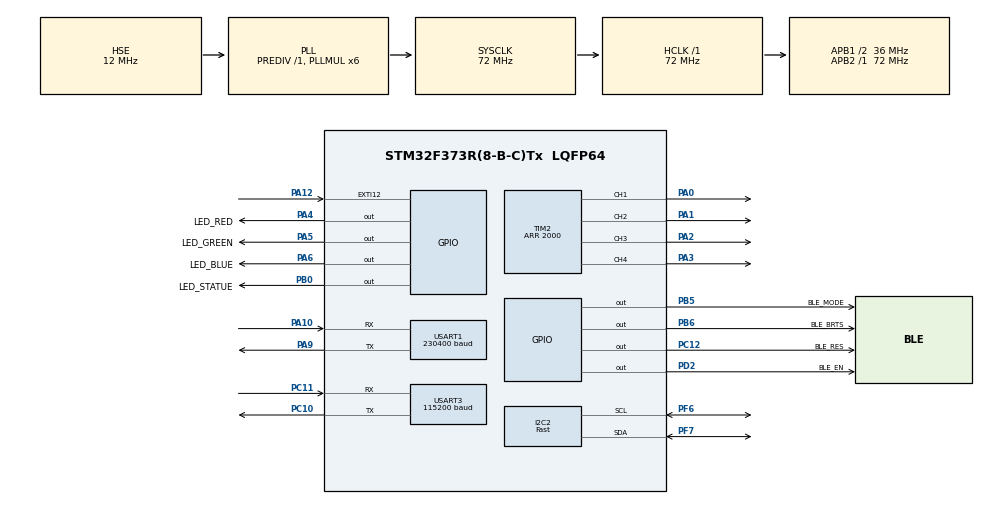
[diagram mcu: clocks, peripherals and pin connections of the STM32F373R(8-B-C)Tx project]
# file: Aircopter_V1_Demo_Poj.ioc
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Dma.I2C2_RX.3.Direction=DMA_PERIPH_TO_MEMORY
Dma.I2C2_RX.3.Instance=DMA1_Channel5
Dma.I2C2_RX.3.MemDataAlignment=DMA_MDATAALIGN_BYTE
Dma.I2C2_RX.3.MemInc=DMA_MINC_DISABLE
Dma.I2C2_RX.3.Mode=DMA_NORMAL
Dma.I2C2_RX.3.PeriphDataAlignment=DMA_PDATAALIGN_BYTE
Dma.I2C2_RX.3.PeriphInc=DMA_PINC_DISABLE
Dma.I2C2_RX.3.Priority=DMA_PRIORITY_MEDIUM
Dma.Request0=USART3_RX
Dma.Request1=USART3_TX
Dma.Request2=USART1_TX
Dma.Request3=I2C2_RX
Dma.USART1_TX.2.Direction=DMA_MEMORY_TO_PERIPH
Dma.USART1_TX.2.Instance=DMA1_Channel4
Dma.USART1_TX.2.MemDataAlignment=DMA_MDATAALIGN_BYTE
Dma.USART1_TX.2.MemInc=DMA_MINC_DISABLE
Dma.USART1_TX.2.Mode=DMA_NORMAL
Dma.USART1_TX.2.PeriphDataAlignment=DMA_PDATAALIGN_BYTE
Dma.USART1_TX.2.PeriphInc=DMA_PINC_DISABLE
Dma.USART1_TX.2.Priority=DMA_PRIORITY_LOW
Dma.USART3_RX.0.Direction=DMA_PERIPH_TO_MEMORY
Dma.USART3_RX.0.Instance=DMA1_Channel3
Dma.USART3_RX.0.MemDataAlignment=DMA_MDATAALIGN_BYTE
Dma.USART3_RX.0.MemInc=DMA_MINC_DISABLE
Dma.USART3_RX.0.Mode=DMA_NORMAL
Dma.USART3_RX.0.PeriphDataAlignment=DMA_PDATAALIGN_BYTE
Dma.USART3_RX.0.PeriphInc=DMA_PINC_DISABLE
Dma.USART3_RX.0.Priority=DMA_PRIORITY_HIGH
Dma.USART3_TX.1.Direction=DMA_MEMORY_TO_PERIPH
Dma.USART3_TX.1.Instance=DMA1_Channel2
Dma.USART3_TX.1.MemDataAlignment=DMA_MDATAALIGN_BYTE
Dma.USART3_TX.1.MemInc=DMA_MINC_DISABLE
Dma.USART3_TX.1.Mode=DMA_NORMAL
Dma.USART3_TX.1.PeriphDataAlignment=DMA_PDATAALIGN_BYTE
Dma.USART3_TX.1.PeriphInc=DMA_PINC_DISABLE
Dma.USART3_TX.1.Priority=DMA_PRIORITY_MEDIUM
FREERTOS.HEAP_NUMBER=4
FREERTOS.Tasks01=defaultTask,0,128,StartDefaultTask
FREERTOS.Timers01=getSensorDataTimer,getSensorDataTimerCallback,osTimerPeriodic
FREERTOS.configCHECK_FOR_STACK_OVERFLOW=1
FREERTOS.configGENERATE_RUN_TIME_STATS=0
FREERTOS.configUSE_IDLE_HOOK=1
FREERTOS.configUSE_MALLOC_FAILED_HOOK=1
FREERTOS.configUSE_TICK_HOOK=1
FREERTOS.configUSE_TIMERS=1
I2C2.I2C_Fall_Time=80
I2C2.I2C_Rise_Time=100
I2C2.I2C_Speed_Mode=I2C_Fast
Mcu.Family=STM32F3
Mcu.Name=STM32F373R(8-B-C)Tx
Mcu.Package=LQFP64
NVIC.DMA1_Channel2_IRQn=true\:5\:0\:false
NVIC.DMA1_Channel3_IRQn=true\:5\:0\:false
NVIC.DMA1_Channel4_IRQn=true\:5\:0\:false
NVIC.DMA1_Channel5_IRQn=true\:5\:0\:false
NVIC.PriorityGroup=NVIC_PRIORITYGROUP_4
NVIC.USART1_IRQn=true\:5\:0\:false
NVIC.USART3_IRQn=true\:5\:0\:false
PA0.GPIO_ModeDefaultPP=GPIO_MODE_AF_PP
PA0.GPIO_PuPd=GPIO_NOPULL
PA0.GPIO_Speed=GPIO_SPEED_HIGH
PA0.Signal=S_TIM2_CH1_ETR
PA1.GPIO_ModeDefaultPP=GPIO_MODE_AF_PP
PA1.GPIO_PuPd=GPIO_NOPULL
PA1.GPIO_Speed=GPIO_SPEED_HIGH
PA1.Signal=S_TIM2_CH2
PA10.GPIO_Mode=GPIO_MODE_AF_PP
PA10.GPIO_PuPd=GPIO_PULLUP
PA10.GPIO_Speed=GPIO_SPEED_HIGH
PA10.Mode=Asynchronous
PA10.Signal=USART1_RX
PA12.Signal=GPXTI12
PA13.Mode=Serial-Wire
PA13.Signal=SYS_JTMS-SWDIO
PA14.Mode=Serial-Wire
PA14.Signal=SYS_JTCK-SWCLK
PA2.GPIO_ModeDefaultPP=GPIO_MODE_AF_PP
PA2.GPIO_PuPd=GPIO_NOPULL
PA2.GPIO_Speed=GPIO_SPEED_HIGH
PA2.Signal=S_TIM2_CH3
PA3.GPIO_ModeDefaultPP=GPIO_MODE_AF_PP
PA3.GPIO_PuPd=GPIO_NOPULL
PA3.GPIO_Speed=GPIO_SPEED_HIGH
PA3.Signal=S_TIM2_CH4
PA4.GPIO_Label=LED_RED
PA4.GPIO_ModeDefaultOutputPP=GPIO_MODE_OUTPUT_PP
PA4.GPIO_PuPd=GPIO_NOPULL
PA4.GPIO_Speed=GPIO_SPEED_HIGH
PA4.Signal=GPIO_Output
PA5.GPIO_Label=LED_GREEN
PA5.GPIO_ModeDefaultOutputPP=GPIO_MODE_OUTPUT_PP
PA5.GPIO_PuPd=GPIO_NOPULL
PA5.GPIO_Speed=GPIO_SPEED_HIGH
PA5.Signal=GPIO_Output
PA6.GPIO_Label=LED_BLUE
PA6.GPIO_ModeDefaultOutputPP=GPIO_MODE_OUTPUT_PP
PA6.GPIO_PuPd=GPIO_NOPULL
PA6.GPIO_Speed=GPIO_SPEED_HIGH
PA6.Signal=GPIO_Output
PA9.GPIO_Mode=GPIO_MODE_AF_PP
PA9.GPIO_PuPd=GPIO_PULLUP
PA9.GPIO_Speed=GPIO_SPEED_HIGH
PA9.Mode=Asynchronous
PA9.Signal=USART1_TX
PB0.GPIO_Label=LED_STATUE
PB0.GPIO_ModeDefaultOutputPP=GPIO_MODE_OUTPUT_PP
PB0.GPIO_PuPd=GPIO_NOPULL
PB0.GPIO_Speed=GPIO_SPEED_HIGH
PB0.Signal=GPIO_Output
PB5.GPIO_Label=BLE_MODE
PB5.GPIO_ModeDefaultOutputPP=GPIO_MODE_OUTPUT_PP
PB5.GPIO_PuPd=GPIO_NOPULL
PB5.GPIO_Speed=GPIO_SPEED_LOW
PB5.Signal=GPIO_Output
PB6.GPIO_FM6=__NULL
PB6.GPIO_Label=BLE_BRTS
PB6.GPIO_ModeDefaultOutputPP=GPIO_MODE_OUTPUT_PP
PB6.GPIO_PuPd=GPIO_NOPULL
PB6.GPIO_Speed=GPIO_SPEED_HIGH
PB6.Signal=GPIO_Output
PC10.GPIO_Mode=GPIO_MODE_AF_PP
PC10.GPIO_PuPd=GPIO_PULLUP
PC10.GPIO_Speed=GPIO_SPEED_HIGH
PC10.Mode=Asynchronous
PC10.Signal=USART3_TX
PC11.GPIO_Mode=GPIO_MODE_AF_PP
PC11.GPIO_PuPd=GPIO_PULLUP
PC11.GPIO_Speed=GPIO_SPEED_HIGH
PC11.Mode=Asynchronous
PC11.Signal=USART3_RX
PC12.GPIO_Label=BLE_RES
PC12.GPIO_ModeDefaultOutputPP=GPIO_MODE_OUTPUT_PP
PC12.GPIO_PuPd=GPIO_NOPULL
PC12.GPIO_Speed=GPIO_SPEED_HIGH
PC12.Signal=GPIO_Output
PD2.GPIO_Label=BLE_EN
PD2.GPIO_ModeDefaultOutputPP=GPIO_MODE_OUTPUT_PP
PD2.GPIO_PuPd=GPIO_NOPULL
PD2.GPIO_Speed=GPIO_SPEED_HIGH
PD2.Signal=GPIO_Output
PF0-OSC_IN.Mode=HSE-External-Oscillator
PF0-OSC_IN.Signal=RCC_OSC_IN
PF1-OSC_OUT.Mode=HSE-External-Oscillator
PF1-OSC_OUT.Signal=RCC_OSC_OUT
PF6.GPIO_Mode=GPIO_MODE_AF_OD
PF6.GPIO_PuPdOD=GPIO_PULLUP
PF6.GPIO_Speed=GPIO_SPEED_HIGH
PF6.Mode=I2C
PF6.Signal=I2C2_SCL
PF7.GPIO_Mode=GPIO_MODE_AF_OD
PF7.GPIO_PuPdOD=GPIO_PULLUP
PF7.GPIO_Speed=GPIO_SPEED_HIGH
PF7.Mode=I2C
PF7.Signal=I2C2_SDA
ProjectManager.TargetToolchain=EWARM
RCC.AHBFreq_Value=72000000
RCC.APB1CLKDivider=RCC_HCLK_DIV2
RCC.APB1Freq_Value=36000000
RCC.APB1TimFreq_Value=72000000
RCC.APB2Freq_Value=72000000
RCC.APB2TimFreq_Value=72000000
RCC.HCLKFreq_Value=72000000
RCC.HSE_VALUE=12000000
RCC.HSI_VALUE=8000000
RCC.LSE_VALUE=32768
RCC.PLLMUL=RCC_PLL_MUL6
RCC.PLLSource=RCC_PLLSOURCE_HSE
RCC.PLLSourceVirtual=RCC_PLLSOURCE_HSE
RCC.PLLSourceVirtualString=RCC_PLLSOURCE_HSE
RCC.SYSCLKFreq_VALUE=72000000
RCC.SYSCLKSource=RCC_SYSCLKSOURCE_PLLCLK
RCC.USBFreq_Value=72000000
SH.S_TIM2_CH1_ETR.0=TIM2_CH1,PWM Generation1 CH1
SH.S_TIM2_CH2.0=TIM2_CH2,PWM Generation2 CH2
SH.S_TIM2_CH3.0=TIM2_CH3,PWM Generation3 CH3
SH.S_TIM2_CH4.0=TIM2_CH4,PWM Generation4 CH4
TIM2.Channel-PWM\ Generation2\ CH2=TIM_CHANNEL_2
TIM2.Channel-PWM\ Generation3\ CH3=TIM_CHANNEL_3
TIM2.Channel-PWM\ Generation4\ CH4=TIM_CHANNEL_4
TIM2.Period=2000
USART1.BaudRate=230400
USART3.BaudRate=115200
VP_FREERTOS_VS_ENABLE.Mode=Enabled
VP_TIM2_VS_ClockSourceINT.Mode=Internal

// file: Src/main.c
/**
  ******************************************************************************
  * File Name          : main.c
  * Date               : 27/04/2015 11:23:53
  * Description        : Main program body
  ******************************************************************************
  *
  * COPYRIGHT(c) 2015 STMicroelectronics
  *
  * Redistribution and use in source and binary forms, with or without modification,
  * are permitted provided that the following conditions are met:
  *   1. Redistributions of source code must retain the above copyright notice,
  *      this list of conditions and the following disclaimer.
  *   2. Redistributions in binary form must reproduce the above copyright notice,
  *      this list of conditions and the following disclaimer in the documentation
  *      and/or other materials provided with the distribution.
  *   3. Neither the name of STMicroelectronics nor the names of its contributors
  *      may be used to endorse or promote products derived from this software
  *      without specific prior written permission.
  *
  * THIS SOFTWARE IS PROVIDED BY THE COPYRIGHT HOLDERS AND CONTRIBUTORS "AS IS"
  * AND ANY EXPRESS OR IMPLIED WARRANTIES, INCLUDING, BUT NOT LIMITED TO, THE
  * IMPLIED WARRANTIES OF MERCHANTABILITY AND FITNESS FOR A PARTICULAR PURPOSE ARE
  * DISCLAIMED. IN NO EVENT SHALL THE COPYRIGHT HOLDER OR CONTRIBUTORS BE LIABLE
  * FOR ANY DIRECT, INDIRECT, INCIDENTAL, SPECIAL, EXEMPLARY, OR CONSEQUENTIAL
  * DAMAGES (INCLUDING, BUT NOT LIMITED TO, PROCUREMENT OF SUBSTITUTE GOODS OR
  * SERVICES; LOSS OF USE, DATA, OR PROFITS; OR BUSINESS INTERRUPTION) HOWEVER
  * CAUSED AND ON ANY THEORY OF LIABILITY, WHETHER IN CONTRACT, STRICT LIABILITY,
  * OR TORT (INCLUDING NEGLIGENCE OR OTHERWISE) ARISING IN ANY WAY OUT OF THE USE
  * OF THIS SOFTWARE, EVEN IF ADVISED OF THE POSSIBILITY OF SUCH DAMAGE.
  *
  ******************************************************************************
  */

#include "stm32f3xx_hal.h"
#include "cmsis_os.h"
#include "dma.h"
#include "i2c.h"
#include "tim.h"
#include "usart.h"
#include "gpio.h"

/* USER CODE BEGIN Includes */
#include "i2c2_sensors.h"
#include "usart3_ble.h"
#include "usart1_dbg.h"
#include <stdio.h>

#include "math.h"
#include "DataScope_DP.h"
#include "algorithm_ahrs.h"
#include "extern_variable.h"
/* USER CODE END Includes */

void SystemClock_Config(void);
void MX_FREERTOS_Init(void);

/* USER CODE BEGIN 0 */
#define PUTCHAR_PROTOTYPE int fputc(int ch, FILE *f)
/**
* @brief
* @note
* @param
* @retval
*/
PUTCHAR_PROTOTYPE
{
  /* Place your implementation of fputc here */
  /* e.g. write a character to the USART */
  USART_DBG_Send(ch);
  return ch;
}
extern PUTCHAR_PROTOTYPE;

unsigned long sensor_timestamp;
short gyro[3], accel[3], sensors;
unsigned char more;
long quat[4];

#define q30  1073741824.0f
float q0=1.0f,q1=0.0f,q2=0.0f,q3=0.0f;
float Yaw,Roll,Pitch;
/* USER CODE END 0 */

int main(void)
{

  /* MCU Configuration----------------------------------------------------------*/

  /* Reset of all peripherals, Initializes the Flash interface and the Systick. */
  HAL_Init();

  /* Configure the system clock */
  SystemClock_Config();

  /* Initialize all configured peripherals */
  MX_GPIO_Init();
  MX_DMA_Init();
  MX_I2C2_Init();
  MX_TIM2_Init();
  MX_USART1_UART_Init();
  MX_USART3_UART_Init();

  /* USER CODE BEGIN 2 */
  USART_DBG_Init();

  BLE_Init();
  printf("Peripherals init OK!\r\n");

  MPU6050_DMP_Initialize();     //初始化DMP引擎
  while(1)
  {
	DMP_Routing();	        //DMP 线程  所有的数据都在这里更新
	DMP_getYawPitchRoll();  //读取 姿态角
	{
	  uint8_t Send_Count = 0, i =0;
	  DataScope_Get_Channel_Data( Q_ANGLE.Pitch , 1 );
	  DataScope_Get_Channel_Data( Q_ANGLE.Roll , 2 );
	  DataScope_Get_Channel_Data( Q_ANGLE.Yaw , 3 );

	  Send_Count = DataScope_Data_Generate(3);
	  for(i = 0;i < Send_Count;i++)
	  {
		USART_DBG_Send(DataScope_OutPut_Buffer[i]);
	  }
	}
	HAL_Delay(20);

  }
  /* USER CODE END 2 */

  /* Call init function for freertos objects (in freertos.c) */
  MX_FREERTOS_Init();

  /* Start scheduler */
  osKernelStart(NULL, NULL);

  /* We should never get here as control is now taken by the scheduler */

  /* Infinite loop */
  while (1)
  {

  }

}

/** System Clock Configuration
*/
void SystemClock_Config(void)
{

  RCC_OscInitTypeDef RCC_OscInitStruct;
  RCC_ClkInitTypeDef RCC_ClkInitStruct;
  RCC_PeriphCLKInitTypeDef PeriphClkInit;

  RCC_OscInitStruct.OscillatorType = RCC_OSCILLATORTYPE_HSI|RCC_OSCILLATORTYPE_HSE;
  RCC_OscInitStruct.HSEState = RCC_HSE_ON;
  RCC_OscInitStruct.HSEPredivValue = RCC_HSE_PREDIV_DIV1;
  RCC_OscInitStruct.HSIState = RCC_HSI_ON;
  RCC_OscInitStruct.HSICalibrationValue = 16;
  RCC_OscInitStruct.PLL.PLLState = RCC_PLL_ON;
  RCC_OscInitStruct.PLL.PLLSource = RCC_PLLSOURCE_HSE;
  RCC_OscInitStruct.PLL.PLLMUL = RCC_PLL_MUL6;
  HAL_RCC_OscConfig(&RCC_OscInitStruct);

  RCC_ClkInitStruct.ClockType = RCC_CLOCKTYPE_SYSCLK|RCC_CLOCKTYPE_PCLK1;
  RCC_ClkInitStruct.SYSCLKSource = RCC_SYSCLKSOURCE_PLLCLK;
  RCC_ClkInitStruct.AHBCLKDivider = RCC_SYSCLK_DIV1;
  RCC_ClkInitStruct.APB1CLKDivider = RCC_HCLK_DIV2;
  RCC_ClkInitStruct.APB2CLKDivider = RCC_HCLK_DIV1;
  HAL_RCC_ClockConfig(&RCC_ClkInitStruct, FLASH_LATENCY_2);

  PeriphClkInit.PeriphClockSelection = RCC_PERIPHCLK_USART1|RCC_PERIPHCLK_USART3
                              |RCC_PERIPHCLK_I2C2;
  PeriphClkInit.Usart1ClockSelection = RCC_USART1CLKSOURCE_PCLK2;
  PeriphClkInit.Usart3ClockSelection = RCC_USART3CLKSOURCE_PCLK1;
  PeriphClkInit.I2c2ClockSelection = RCC_I2C2CLKSOURCE_HSI;
  HAL_RCCEx_PeriphCLKConfig(&PeriphClkInit);

  __SYSCFG_CLK_ENABLE();

}

#ifdef USE_FULL_ASSERT

/**
   * @brief Reports the name of the source file and the source line number
   * where the assert_param error has occurred.
   * @param file: pointer to the source file name
   * @param line: assert_param error line source number
   * @retval None
   */
void assert_failed(uint8_t* file, uint32_t line)
{
  /* USER CODE BEGIN 6 */
  /* User can add his own implementation to report the file name and line number,
    ex: printf("Wrong parameters value: file %s on line %d\r\n", file, line) */
  printf("Wrong parameters value: file %s on line %d\r\n", file, line);
  /* USER CODE END 6 */

}

#endif

/************************ (C) COPYRIGHT STMicroelectronics *****END OF FILE****/

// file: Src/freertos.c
/**
  ******************************************************************************
  * File Name          : freertos.c
  * Date               : 10/04/2015 16:29:22
  * Description        : Code for freertos applications
  ******************************************************************************
  *
  * COPYRIGHT(c) 2015 STMicroelectronics
  *
  * Redistribution and use in source and binary forms, with or without modification,
  * are permitted provided that the following conditions are met:
  *   1. Redistributions of source code must retain the above copyright notice,
  *      this list of conditions and the following disclaimer.
  *   2. Redistributions in binary form must reproduce the above copyright notice,
  *      this list of conditions and the following disclaimer in the documentation
  *      and/or other materials provided with the distribution.
  *   3. Neither the name of STMicroelectronics nor the names of its contributors
  *      may be used to endorse or promote products derived from this software
  *      without specific prior written permission.
  *
  * THIS SOFTWARE IS PROVIDED BY THE COPYRIGHT HOLDERS AND CONTRIBUTORS "AS IS"
  * AND ANY EXPRESS OR IMPLIED WARRANTIES, INCLUDING, BUT NOT LIMITED TO, THE
  * IMPLIED WARRANTIES OF MERCHANTABILITY AND FITNESS FOR A PARTICULAR PURPOSE ARE
  * DISCLAIMED. IN NO EVENT SHALL THE COPYRIGHT HOLDER OR CONTRIBUTORS BE LIABLE
  * FOR ANY DIRECT, INDIRECT, INCIDENTAL, SPECIAL, EXEMPLARY, OR CONSEQUENTIAL
  * DAMAGES (INCLUDING, BUT NOT LIMITED TO, PROCUREMENT OF SUBSTITUTE GOODS OR
  * SERVICES; LOSS OF USE, DATA, OR PROFITS; OR BUSINESS INTERRUPTION) HOWEVER
  * CAUSED AND ON ANY THEORY OF LIABILITY, WHETHER IN CONTRACT, STRICT LIABILITY,
  * OR TORT (INCLUDING NEGLIGENCE OR OTHERWISE) ARISING IN ANY WAY OUT OF THE USE
  * OF THIS SOFTWARE, EVEN IF ADVISED OF THE POSSIBILITY OF SUCH DAMAGE.
  *
  ******************************************************************************
  */

#include "FreeRTOS.h"
#include "task.h"
#include "cmsis_os.h"

/* USER CODE BEGIN Includes */
#include "my_free_rtos.h"
#include <stdio.h>
#include "i2c2_sensors.h"
#include "algorithm_ahrs.h"
#include "algorithm_moveAve.h"
#include "tim2_motor.h"
#include "usart3_ble.h"
#include "leds.h"
#include "algorithm_pid2.h"
#include "pid.h"
#include "usart1_dbg.h"
#include "DataScope_DP.h"
#include "extern_variable.h"
#include "MPU6050.h"
#include "DMP.h"
/* USER CODE END Includes */

osThreadId defaultTaskHandle;
osTimerId getSensorDataTimerHandle;

/* USER CODE BEGIN Variables */
osThreadId sensorTaskHandle;
osSemaphoreId sensorSemaphore;
osSemaphoreId sensorOKSemaphore;
osSemaphoreId sensorWorkSemaphore;
osThreadId bleRecvTaskHandle;
osSemaphoreId bleRecvOKSemaphore;
osThreadId uartTaskHandle;
/* USER CODE END Variables */

void StartDefaultTask(void const * argument);
void getSensorDataTimerCallback(void const * argument);

void MX_FREERTOS_Init(void); /* (MISRA C 2004 rule 8.1) */

/* USER CODE BEGIN FunctionPrototypes */
#define USART_Send(x) USART_DBG_Send(x)

void StartSensorTask(void const * argument);
void StartBleRecvTask(void const * argument);
void StartUartTask(void const * argument);
void EullerReport(EulerAngle* pAngE);
/* USER CODE END FunctionPrototypes */
/* Hook prototypes */
void vApplicationIdleHook(void);
void vApplicationTickHook(void);
void vApplicationStackOverflowHook(xTaskHandle xTask, signed char *pcTaskName);
void vApplicationMallocFailedHook(void);

/* USER CODE BEGIN 2 */
void vApplicationIdleHook( void )
{
   /* vApplicationIdleHook() will only be called if configUSE_IDLE_HOOK is set
   to 1 in FreeRTOSConfig.h. It will be called on each iteration of the idle
   task. It is essential that code added to this hook function never attempts
   to block in any way (for example, call xQueueReceive() with a block time
   specified, or call vTaskDelay()). If the application makes use of the
   vTaskDelete() API function (as this demo application does) then it is also
   important that vApplicationIdleHook() is permitted to return to its calling
   function, because it is the responsibility of the idle task to clean up
   memory allocated by the kernel to any task that has since been deleted. */
}
/* USER CODE END 2 */

/* USER CODE BEGIN 3 */
void vApplicationTickHook( void )
{
   /* This function will be called by each tick interrupt if
   configUSE_TICK_HOOK is set to 1 in FreeRTOSConfig.h. User code can be
   added here, but the tick hook is called from an interrupt context, so
   code must not attempt to block, and only the interrupt safe FreeRTOS API
   functions can be used (those that end in FromISR()). */
}
/* USER CODE END 3 */

/* USER CODE BEGIN 4 */
void vApplicationStackOverflowHook(xTaskHandle xTask, signed char *pcTaskName)
{
   /* Run time stack overflow checking is performed if
   configCHECK_FOR_STACK_OVERFLOW is defined to 1 or 2. This hook function is
   called if a stack overflow is detected. */
}
/* USER CODE END 4 */

/* USER CODE BEGIN 5 */
void vApplicationMallocFailedHook(void)
{
   /* vApplicationMallocFailedHook() will only be called if
   configUSE_MALLOC_FAILED_HOOK is set to 1 in FreeRTOSConfig.h. It is a hook
   function that will get called if a call to pvPortMalloc() fails.
   pvPortMalloc() is called internally by the kernel whenever a task, queue,
   timer or semaphore is created. It is also called by various parts of the
   demo application. If heap_1.c or heap_2.c are used, then the size of the
   heap available to pvPortMalloc() is defined by configTOTAL_HEAP_SIZE in
   FreeRTOSConfig.h, and the xPortGetFreeHeapSize() API function can be used
   to query the size of free heap space that remains (although it does not
   provide information on how the remaining heap might be fragmented). */
}
/* USER CODE END 5 */

/* Init FreeRTOS */

void MX_FREERTOS_Init(void) {
  /* USER CODE BEGIN Init */
  printf("%s\r\n", __func__);
  Sensor_Init();
  /* USER CODE END Init */

  /* USER CODE BEGIN RTOS_SEMAPHORES */
  /* add semaphores, ... */
  osSemaphoreDef(sensorSemaphore);
  sensorSemaphore = osSemaphoreCreate(osSemaphore(sensorSemaphore), 1);
  if(sensorSemaphore == NULL){
	printf("osSemaphoreCreate sensorSemaphore Error\r\n");
	return;
  }
  osSemaphoreWait(sensorSemaphore, 0);

  osSemaphoreDef(sensorWorkSemaphore);
  sensorWorkSemaphore = osSemaphoreCreate(osSemaphore(sensorWorkSemaphore), 1);
  if(sensorWorkSemaphore == NULL){
	printf("osSemaphoreCreate sensorWorkSemaphore Error\r\n");
	return;
  }
  osSemaphoreWait(sensorWorkSemaphore, 0);

  osSemaphoreDef(sensorOKSemaphore);
  sensorOKSemaphore = osSemaphoreCreate(osSemaphore(sensorOKSemaphore), 1);
  if(sensorOKSemaphore == NULL){
	printf("osSemaphoreCreate sensorOKSemaphore Error\r\n");
	return;
  }
  osSemaphoreWait(sensorOKSemaphore, 0);

  osSemaphoreDef(bleRecvOKSemaphore);
  bleRecvOKSemaphore = osSemaphoreCreate(osSemaphore(bleRecvOKSemaphore), 1);
  if(bleRecvOKSemaphore == NULL){
	printf("osSemaphoreCreate bleRecvOKSemaphore Error\r\n");
	return;
  }
  osSemaphoreWait(bleRecvOKSemaphore, 0);

  /* USER CODE END RTOS_SEMAPHORES */

  /* Create the timer(s) */
  /* definition and creation of getSensorDataTimer */
  osTimerDef(getSensorDataTimer, getSensorDataTimerCallback);
  getSensorDataTimerHandle = osTimerCreate(osTimer(getSensorDataTimer), osTimerPeriodic, NULL);

  /* Create the thread(s) */
  /* definition and creation of defaultTask */
//  osThreadDef(defaultTask, StartDefaultTask, osPriorityNormal, 0, 128);
//  defaultTaskHandle = osThreadCreate(osThread(defaultTask), NULL);

  /* USER CODE BEGIN RTOS_THREADS */
  /* add threads, ... */

  osThreadDef(sensorTask, StartSensorTask, osPriorityNormal, 0, 512);
  sensorTaskHandle = osThreadCreate(osThread(sensorTask), NULL);

  osThreadDef(bleRecvTask, StartBleRecvTask, osPriorityNormal, 0, 256);
  bleRecvTaskHandle = osThreadCreate(osThread(bleRecvTask), NULL);

//  osThreadDef(uartTask, StartUartTask, osPriorityNormal, 0, 128);
//  uartTaskHandle = osThreadCreate(osThread(uartTask), NULL);

  /* USER CODE END RTOS_THREADS */

}

/* StartDefaultTask function */
void StartDefaultTask(void const * argument)
{

  /* USER CODE BEGIN StartDefaultTask */
  printf("%s\r\n", __func__);

//  osDelay(1000);
  /* USER CODE END StartDefaultTask */
}

/* getSensorDataTimerCallback function */
void getSensorDataTimerCallback(void const * argument)
{
  /* USER CODE BEGIN getSensorDataTimerCallback */
#if 0
#define MoveAveSize 8
  static float Acc_FIFO[3][MoveAveSize] = {0};
  static float Gyr_FIFO[3][MoveAveSize] = {0};
  static float Mag_FIFO[3][MoveAveSize] = {0};

  static float OffsetSum[3] = {0};
  static uint16_t Correction_Time = 0;
  static uint8_t cycle = 0;
//  printf("%s\r\n", __func__);
LED_BlueOn();
#endif
  StartReadSensors(Gyr,
						Acc,
#ifdef USE_MAGNETOMETER
						Mag,
#else
						NULL,
#endif

#ifdef USE_BAROMETER
						NULL
#else
						NULL
#endif
						  );
  if(osSemaphoreWait(sensorOKSemaphore, 100) != 0)
	return;
#if 0
  LED_BlueOff();

//  printf("Gyr[X]:%7.2f\tGyr[Y]:%7.2f\tGyr[Z]:%7.2f\r\n", Gyr[0], Gyr[1], Gyr[2]);
//  printf("Acc[X]:%7.2f\tAcc[Y]:%7.2f\tAcc[Z]:%7.2f\r\n", Acc[0], Acc[1], Acc[2]);
//  printf("Mag[X]:%7.2f\tMag[Y]:%7.2f\tMag[Z]:%7.2f\r\n", Mag[0], Mag[1], Mag[2]);

  Gyr[0] = Gyr[0] - Gyro_Offset.Offset_X;
  Gyr[1] = Gyr[1] - Gyro_Offset.Offset_Y;
  Gyr[2] = Gyr[2] - Gyro_Offset.Offset_Z;

  Acc[0] = Acc[0] - Acc_Parameter.Acc_Offset.Offset_X;
  Acc[1] = Acc[1] - Acc_Parameter.Acc_Offset.Offset_Y;
  Acc[2] = Acc[2] - Acc_Parameter.Acc_Offset.Offset_Z;

  Acc[0] = Acc[0] * Acc_Parameter.Acc_Coupling.K_X      \
	+ Acc[1] * Acc_Parameter.Acc_Coupling.K_YX     \
	  + Acc[2] * Acc_Parameter.Acc_Coupling.K_ZX;
  Acc[1] = Acc[0] * Acc_Parameter.Acc_Coupling.K_XY     \
	+ Acc[1] * Acc_Parameter.Acc_Coupling.K_Y      \
	  + Acc[2] * Acc_Parameter.Acc_Coupling.K_ZY;
  Acc[2] = Acc[0] * Acc_Parameter.Acc_Coupling.K_XZ     \
	+ Acc[1] * Acc_Parameter.Acc_Coupling.K_YZ     \
	  + Acc[2] * Acc_Parameter.Acc_Coupling.K_Z;

#ifdef	USE_MAGNETOMETER

  Mag[0] = Mag[0] - Mag_Parameter.Mag_Offset.Offset_X;
  Mag[1] = Mag[1] - Mag_Parameter.Mag_Offset.Offset_Y;
  Mag[2] = Mag[2] - Mag_Parameter.Mag_Offset.Offset_Z;

  Mag[0] = Mag[0] * Mag_Parameter.Mag_Coupling.K_X      \
	+ Mag[1] * Mag_Parameter.Mag_Coupling.K_YX     \
	  + Mag[2] * Mag_Parameter.Mag_Coupling.K_ZX;
  Mag[1] = Mag[0] * Mag_Parameter.Mag_Coupling.K_XY     \
	+ Mag[1] * Mag_Parameter.Mag_Coupling.K_Y      \
	  + Mag[2] * Mag_Parameter.Mag_Coupling.K_ZY;
  Mag[2] = Mag[0] * Mag_Parameter.Mag_Coupling.K_XZ     \
	+ Mag[1] * Mag_Parameter.Mag_Coupling.K_YZ     \
	  + Mag[2] * Mag_Parameter.Mag_Coupling.K_Z;
  /* Due to IC position in PCB*/
  //Mag[0] = -Mag[0];
  //Mag[1] = -Mag[1];
#endif

  switch(SensorMode)
  {
	/************************** Mode_CorrectGyr **************************************/
  case Mode_GyrCorrect:

	//	  YELLOW_ON;
	/* Offset Correction */
#define GyroSampleSize 1024
	OffsetSum[0] += Gyr[0];
	OffsetSum[1] += Gyr[1];
	OffsetSum[2] += Gyr[2];
	Correction_Time++;
	if(Correction_Time == GyroSampleSize)
	{
	  Gyro_Offset.Offset_X = OffsetSum[0] / GyroSampleSize;
	  Gyro_Offset.Offset_Y = OffsetSum[1] / GyroSampleSize;
	  Gyro_Offset.Offset_Z = OffsetSum[2] / GyroSampleSize;

	  Correction_Time = 0;
	  /* Next Procedure */
	  SensorMode = Mode_AccCorrect;
	}
	break;

	/************************** Mode_CorrectAcc **************************************/
  case Mode_AccCorrect:
#if 0
	/* Offset Correction */
	Acc_Parameter.Acc_Offset.Offset_X = -0.007970729553635;
	Acc_Parameter.Acc_Offset.Offset_Y = 0.019836643844817;
	Acc_Parameter.Acc_Offset.Offset_Z = 0.006183107591687;
	/* Coupling Correction */
	Acc_Parameter.Acc_Coupling.K_X  = 0.970990949467151;
	Acc_Parameter.Acc_Coupling.K_Y  = 0.980792462583293;
	Acc_Parameter.Acc_Coupling.K_Z  = 0.965535220154680;
	Acc_Parameter.Acc_Coupling.K_YX = 0.002437447263339;
	Acc_Parameter.Acc_Coupling.K_ZX = 0.014915966356573;
	Acc_Parameter.Acc_Coupling.K_XY = 0;
	Acc_Parameter.Acc_Coupling.K_ZY = -0.005387874488198;
	Acc_Parameter.Acc_Coupling.K_XZ = 0;
	Acc_Parameter.Acc_Coupling.K_YZ = 0;
#else
	/* Offset Correction */
	Acc_Parameter.Acc_Offset.Offset_X = 0;
	Acc_Parameter.Acc_Offset.Offset_Y = 0;
	Acc_Parameter.Acc_Offset.Offset_Z = 0;
	/* Coupling Correction */
	Acc_Parameter.Acc_Coupling.K_X  = 1;
	Acc_Parameter.Acc_Coupling.K_Y  = 1;
	Acc_Parameter.Acc_Coupling.K_Z  = 1;
	Acc_Parameter.Acc_Coupling.K_YX = 0;
	Acc_Parameter.Acc_Coupling.K_ZX = 0;
	Acc_Parameter.Acc_Coupling.K_XY = 0;
	Acc_Parameter.Acc_Coupling.K_ZY = 0;
	Acc_Parameter.Acc_Coupling.K_XZ = 0;
	Acc_Parameter.Acc_Coupling.K_YZ = 0;
#endif
	/* Wait until FIFO is filled up */
	MoveAve_SMA(Acc[0], Acc_FIFO[0], MoveAveSize);
	MoveAve_SMA(Acc[1], Acc_FIFO[1], MoveAveSize);
	MoveAve_SMA(Acc[2], Acc_FIFO[2], MoveAveSize);
	Correction_Time++;
	if (Correction_Time == MoveAveSize+1)	//beacuse the first data is zero
	{
	  Correction_Time = 0;
	  /* Next Procedure */
#ifdef	USE_MAGNETOMETER
	  SensorMode = Mode_MagCorrect;
#else
	  SensorMode = Mode_Quaternion;
#endif

	}
	break;

	/************************** Mode_CorrectMag **************************************/
#ifdef	USE_MAGNETOMETER
  case Mode_MagCorrect:

	/* Offset Correction */
	Mag_Parameter.Mag_Offset.Offset_X = 0.347320519123196;
	Mag_Parameter.Mag_Offset.Offset_Y = -0.441676977320650;
	Mag_Parameter.Mag_Offset.Offset_Z = 0.623926096014853;
	/* Coupling Correction */
	Mag_Parameter.Mag_Coupling.K_X  = 3.213533040206366;
	Mag_Parameter.Mag_Coupling.K_Y  = 3.241421222828024;
	Mag_Parameter.Mag_Coupling.K_Z  = 3.215694520594453;
	Mag_Parameter.Mag_Coupling.K_YX = 0.081451183121051;
	Mag_Parameter.Mag_Coupling.K_ZX = 0.006184918582682;
	Mag_Parameter.Mag_Coupling.K_XY = 0;
	Mag_Parameter.Mag_Coupling.K_ZY = -0.049199718330043;
	Mag_Parameter.Mag_Coupling.K_XZ = 0;
	Mag_Parameter.Mag_Coupling.K_YZ = 0;
	/* Wait until FIFO is filled up */
	MoveAve_SMA(Mag[0], Mag_FIFO[0], MoveAveSize);
	MoveAve_SMA(Mag[1], Mag_FIFO[1], MoveAveSize);
	MoveAve_SMA(Mag[2], Mag_FIFO[2], MoveAveSize);
	Correction_Time++;
	if (Correction_Time == MoveAveSize+1)	//beacuse the first data is zero
	{
	  Correction_Time = 0;
	  /* Next Procedure */
	  SensorMode = Mode_Quaternion;
	}
	break;
#endif

	/************************** Quaternion Mode **************************************/
  case Mode_Quaternion:

	/* Weighted Moving Average */
	Acc[0] = MoveAve_WMA(Acc[0], Acc_FIFO[0], MoveAveSize);
	Acc[1] = MoveAve_WMA(Acc[1], Acc_FIFO[1], MoveAveSize);
	Acc[2] = MoveAve_WMA(Acc[2], Acc_FIFO[2], MoveAveSize);
#ifdef	USE_MAGNETOMETER
	Mag[0] = MoveAve_WMA(Mag[0], Mag_FIFO[0], MoveAveSize);
	Mag[1] = MoveAve_WMA(Mag[1], Mag_FIFO[1], MoveAveSize);
	Mag[2] = MoveAve_WMA(Mag[2], Mag_FIFO[2], MoveAveSize);
#endif
	AHRS_Init(Acc, Mag, &AngE);
	SensorMode = Mode_Algorithm;
	break;

	/************************** Algorithm Mode ****************************************/
  case Mode_Algorithm:
#if 1
	/* Weighted Moving Average */
	Gyr[0] = MoveAve_WMA(Gyr[0], Gyr_FIFO[0], MoveAveSize);
	Gyr[1] = MoveAve_WMA(Gyr[1], Gyr_FIFO[1], MoveAveSize);
	Gyr[2] = MoveAve_WMA(Gyr[2], Gyr_FIFO[2], MoveAveSize);
	Acc[0] = MoveAve_WMA(Acc[0], Acc_FIFO[0], MoveAveSize);
	Acc[1] = MoveAve_WMA(Acc[1], Acc_FIFO[1], MoveAveSize);
	Acc[2] = MoveAve_WMA(Acc[2], Acc_FIFO[2], MoveAveSize);

#ifdef	USE_MAGNETOMETER
	Mag[0] = MoveAve_WMA(Mag[0], Mag_FIFO[0], MoveAveSize);
	Mag[1] = MoveAve_WMA(Mag[1], Mag_FIFO[1], MoveAveSize);
	Mag[2] = MoveAve_WMA(Mag[2], Mag_FIFO[2], MoveAveSize);
#endif
#else
		/* Slide Moving Average */
	Gyr[0] = MoveAve_SMA(Gyr[0], Gyr_FIFO[0], MoveAveSize);
	Gyr[1] = MoveAve_SMA(Gyr[1], Gyr_FIFO[1], MoveAveSize);
	Gyr[2] = MoveAve_SMA(Gyr[2], Gyr_FIFO[2], MoveAveSize);
	Acc[0] = MoveAve_SMA(Acc[0], Acc_FIFO[0], MoveAveSize);
	Acc[1] = MoveAve_SMA(Acc[1], Acc_FIFO[1], MoveAveSize);
	Acc[2] = MoveAve_SMA(Acc[2], Acc_FIFO[2], MoveAveSize);

#ifdef	USE_MAGNETOMETER
	Mag[0] = MoveAve_SMA(Mag[0], Mag_FIFO[0], MoveAveSize);
	Mag[1] = MoveAve_SMA(Mag[1], Mag_FIFO[1], MoveAveSize);
	Mag[2] = MoveAve_SMA(Mag[2], Mag_FIFO[2], MoveAveSize);
#endif
#endif
	cycle ++;
	if(cycle >= 10){
	  cycle = 0;
	  osSemaphoreRelease(sensorSemaphore);
	  osSemaphoreWait(sensorWorkSemaphore, 5);
	}

	break;
  }
#endif

  /* USER CODE END getSensorDataTimerCallback */
}

/* USER CODE BEGIN Application */
void SensorsReadOK()
{
  osSemaphoreRelease(sensorOKSemaphore);
}
volatile uint8_t MPU6050ReadIsOK = 0;
void MPU6050ReadOK()
{
//  osSemaphoreRelease(sensorSemaphore);
  MPU6050ReadIsOK = 1;
}

void StartSensorTask(void const * argument)
{
  /* USER CODE BEGIN StartDefaultTask */
  printf("%s\r\n", __func__);
  float Normalize,accx,accy,accz;
//  Motor_Out(MOTOR_SPEED_MAX,MOTOR_SPEED_MAX,MOTOR_SPEED_MAX,MOTOR_SPEED_MAX);
//  osDelay(2500);
//  Motor_Out(MOTOR_SPEED_MIN,MOTOR_SPEED_MIN,MOTOR_SPEED_MIN,MOTOR_SPEED_MIN);
//  osDelay(2500);

  Motor_Out(MOTOR_SPEED_MIN + 300,0,0,0);
  osDelay(50);
  Motor_Out(0,0,0,0);
  osDelay(500);

  Motor_Out(0,MOTOR_SPEED_MIN + 300,0,0);
  osDelay(50);
  Motor_Out(0,0,0,0);
  osDelay(500);

  Motor_Out(0,0,MOTOR_SPEED_MIN + 300,0);
  osDelay(50);
  Motor_Out(0,0,0,0);
  osDelay(500);

  Motor_Out(0,0,0,MOTOR_SPEED_MIN + 300);
  osDelay(50);
  Motor_Out(0,0,0,0);
 // osTimerStart(getSensorDataTimerHandle, 1000 / 500);

 // Motor_Out(1100,1100,1100,1100);

  /* Infinite loop */

  for(;;)
  {
        static int num = 0;
//	if(osSemaphoreWait(sensorSemaphore, 100) == 0){
	if(MPU6050ReadIsOK){
//	  int16_t data[3] = {0};
	  MPU6050ReadIsOK = 0;
	  DMP_Routing();	        //DMP 线程  所有的数据都在这里更新
	  DMP_getYawPitchRoll();  //读取 姿态角
          if(num < 500 )
            num++;
          gyo.Pitch_gy = DMP_DATA.dmp_gyrox + 1 ;
          gyo.Roll_gy = DMP_DATA.dmp_gyroy  ;
          gyo.Yaw_gy = (-DMP_DATA.dmp_gyroz);
          AngE.Pitch = DMP_DATA.dmp_pitch - 1.75-0.75;
          AngE.Roll = DMP_DATA.dmp_roll + 1.25;
          AngE.Yaw = DMP_DATA.dmp_yaw;

 //           MPU6050AccRead(data);
       //   Normalize = invSqrtf(squa(data[0]) + squa(-data[1]) + squa(-data[2]));
      //    accx = data[0]*Normalize;
      //    accy = -data[1]*Normalize;
      //    accz = -data[2]*Normalize;
      //    accx = asinf(-accx);
      //    accy = atan2f(accy,accz);
      //    Acc[0] = data[0];
       //   Acc[1] = -data[1];
       //   Acc[2] = -data[2];

//         printf("%f,   %f,   %f \r\n",Gyr[0],Gyr[1],Gyr[2]);
	  {
//		MPU6050GyroRead(data);
//		MPU6050AccRead(data);
		uint8_t Send_Count = 0, i =0;
		DataScope_Get_Channel_Data( gyo.Pitch_gy, 1 );
		DataScope_Get_Channel_Data( gyo.Roll_gy, 2 );
		DataScope_Get_Channel_Data( gyo.Yaw_gy, 3 );
//		DataScope_Get_Channel_Data( DMP_DATA.dmp_accx , 7 );
//		DataScope_Get_Channel_Data( DMP_DATA.dmp_accy , 8 );
//		DataScope_Get_Channel_Data( DMP_DATA.dmp_accz , 9 );
		DataScope_Get_Channel_Data( AngE.Pitch, 4 );
		DataScope_Get_Channel_Data( AngE.Roll, 5 );
		DataScope_Get_Channel_Data( AngE.Yaw, 6 );
//		DataScope_Get_Channel_Data( data[0] / 16.4f, 1 );
//		DataScope_Get_Channel_Data( data[1] / 16.4f, 2 );
//		DataScope_Get_Channel_Data( data[2] / 16.4f, 3 );
//		DataScope_Get_Channel_Data( DMP_DATA.dmp_gyrox, 1 );
//		DataScope_Get_Channel_Data( DMP_DATA.dmp_gyroy, 2 );
//		DataScope_Get_Channel_Data( DMP_DATA.dmp_gyroz, 3 );
//		DataScope_Get_Channel_Data( data[0] / 16.4f, 4 );
//		DataScope_Get_Channel_Data( data[1] / 16.4f, 5 );
//		DataScope_Get_Channel_Data( data[2] / 16.4f, 6 );
//		DataScope_Get_Channel_Data( DMP_DATA.dmp_pitch, 4 );
//		DataScope_Get_Channel_Data( DMP_DATA.dmp_roll, 5 );
//		DataScope_Get_Channel_Data( DMP_DATA.dmp_yaw, 6 );
//              DataScope_Get_Channel_Data( asinf(-accx)*57.2957795, 4 );

		Send_Count = DataScope_Data_Generate(6);
		for(i = 0;i < Send_Count;i++)
		{
		  USART_DBG_Send(DataScope_OutPut_Buffer[i]);
		}
	  }

#if 1
	  uint8_t Send_Count = 0, i =0;
	  LED_RedOn();
//	  AHRS_Update(Gyr, Acc, Mag, &AngE);
#if 0
#if 0
	  DataScope_Get_Channel_Data( Acc[0], 1 );
	  DataScope_Get_Channel_Data( Acc[1], 2 );
	  DataScope_Get_Channel_Data( Acc[2], 3 );
	  DataScope_Get_Channel_Data( Gyr[0], 4 );
	  DataScope_Get_Channel_Data( Gyr[1], 5 );
	  DataScope_Get_Channel_Data( Gyr[2], 6 );
	  DataScope_Get_Channel_Data( toDeg(AngE.Pitch) , 7 );
	  DataScope_Get_Channel_Data( toDeg(AngE.Roll) , 8 );
	  DataScope_Get_Channel_Data( toDeg(AngE.Yaw) , 9 );

	  Send_Count = DataScope_Data_Generate(9);
	  for(i = 0;i < Send_Count;i++)
	  {
		USART_DBG_Send(DataScope_OutPut_Buffer[i]);
	  }
#else
//	  DataScope_Get_Channel_Data( toDeg(AngE.Pitch) , 1 );
//	  DataScope_Get_Channel_Data( toDeg(AngE.Roll) , 2 );
//	  DataScope_Get_Channel_Data( toDeg(AngE.Yaw) , 3 );
//          DataScope_Get_Channel_Data( accsource.ACCX * 57.29578, 4 );
//	  DataScope_Get_Channel_Data( accsource.ACCY * 57.29578, 5 );

          DataScope_Get_Channel_Data( DMP_DATA.dmp_pitch, 1 );
	  DataScope_Get_Channel_Data( DMP_DATA.dmp_roll, 2 );
	  DataScope_Get_Channel_Data( DMP_DATA.dmp_yaw, 3 );
	  Send_Count = DataScope_Data_Generate(10);
	  for(i = 0;i < Send_Count;i++)
	  {
		USART_DBG_Send(DataScope_OutPut_Buffer[i]);
	  }
#endif
#endif

	  osSemaphoreRelease(sensorWorkSemaphore);

#if 1
	  if(1){
#if 0
		//		  PID2_Process(toDeg(AngE.Pitch - AngE_Zero.Pitch) - gCommand_Packet.mRoll,
		//					   toDeg(AngE.Roll - AngE_Zero.Roll) - gCommand_Packet.mPitch,
		//					   toDeg(AngE.Yaw - AngE_Zero.Yaw) - gCommand_Packet.mYaw,
		//					   gCommand_Packet.mThrust);
		PID2_Process(0,
					 0,
					 0,
					 gCommand_Packet.mThrust);
#else
		//			expect.Roll_expect = gCommand_Packet.mPitch;
		//			expect.Pitch_expect = gCommand_Packet.mRoll;
		//			expect.Yaw_expect = gCommand_Packet.mYaw;

		expect.Roll_expect = 0;
		expect.Pitch_expect = 0;
		expect.Yaw_expect = AngE.Yaw;
		expect.Throttle_expect = gCommand_Packet.mThrust;//1500;
                if(num >= 500)
                {
                  Control_Angle(&AngE,&expect);
                  Control_Gyro(&gyo,&AngE);
                }
#endif
	  }
	  else{
		Motor_Out(1100,1100,1100,1100);
	  }
//	  printf("+ AngE.Roll:%7f AngE.Pitch:%7f AngE.Yaw:%7f\r\n", AngE.Roll, AngE.Pitch, AngE.Yaw);

#endif
	  //EullerReport(&AngE);
	  LED_RedOff();
#endif
	}
	else{
	}
	osDelay(1);

  }
  /* USER CODE END StartDefaultTask */
}

void BLERecvOK()
{
  osSemaphoreRelease(bleRecvOKSemaphore);
}

void StartBleRecvTask(void const * argument)
{

  /* USER CODE BEGIN StartDefaultTask */
  printf("%s\r\n", __func__);
  /* Infinite loop */
  BLE_Mode( 0 );
  BLE_Power_Enable( 0 );
  osDelay(1);
  BLE_Power_Enable( 1 );
  osDelay(1);
  BLE_BroadCast_Enable( 1 );
  //BLE_Input_Enable(1);
  printf("BLE init OK\r\n");
  BLE_StartRead();
  for(;;)
  {
	if(osSemaphoreWait(bleRecvOKSemaphore, 1000) == 0)
	{
	  if(BLE_GetPacket(&gCommand_Packet)){
		Motor_Out(gCommand_Packet.mThrust,gCommand_Packet.mThrust,
				  gCommand_Packet.mThrust,gCommand_Packet.mThrust);

//		printf("mRoll:%f mPitch:%f mYaw:%f mThrust:%u\r\n",
//			   gCommand_Packet.mRoll, gCommand_Packet.mPitch, gCommand_Packet.mYaw, gCommand_Packet.mThrust);
	  }
	}
  }
  /* USER CODE END StartDefaultTask */
}

void StartUartTask(void const * argument)
{

  /* USER CODE BEGIN StartDefaultTask */
  /* Infinite loop */
  for(;;)
  {
    osDelay(200);
//	printf("%s\r\n", __func__);
  }
  /* USER CODE END StartDefaultTask */
}

/**
* @brief  Report Euler angles(Degree) to PC.
*
* @param  pAngE: Pointer to the buffer containing the Euler angles(radias).
*
* @retval None.
*
*/
void EullerReport(EulerAngle* pAngE)
{
//  int16_t  yaw 	 = (int16_t)(toDeg(pAngE->Yaw - AngE_Zero.Yaw)*10);
//  int16_t  pitch = (int16_t)(toDeg(pAngE->Roll - AngE_Zero.Roll)*10);
//  int16_t  roll	 = (int16_t)(toDeg(pAngE->Pitch - AngE_Zero.Pitch)*10);
  int16_t  yaw 	 = (int16_t)(toDeg(pAngE->Yaw)*10);
  int16_t  pitch = (int16_t)(toDeg(pAngE->Roll)*10);
  int16_t  roll	 = (int16_t)(toDeg(pAngE->Pitch)*10);
  uint8_t  ctemp = 0;
  uint16_t verification = 0xB1;

  USART_Send(0xA5);
  USART_Send(0x5A);
  USART_Send(0x10);
  USART_Send(0xA1);

  if(yaw < 0)
	yaw = 32768 - yaw;
  ctemp = yaw >> 8;

  USART_Send(ctemp);
  verification += ctemp;
  ctemp = yaw;

  USART_Send(ctemp);
  verification += ctemp;

  if(pitch < 0)
	pitch = 32768 - pitch;
  ctemp = pitch >> 8;

  USART_Send(ctemp);
  verification += ctemp;
  ctemp = pitch;

  USART_Send(ctemp);
  verification += ctemp;

  if(roll < 0)
	roll = 32768 - roll;
  ctemp = roll >> 8;

  USART_Send(ctemp);
  verification += ctemp;
  ctemp = roll;

  USART_Send(ctemp);
  verification += ctemp;

  USART_Send(verification % 256);
  USART_Send(0xAA);
}
/* USER CODE END Application */

/************************ (C) COPYRIGHT STMicroelectronics *****END OF FILE****/
